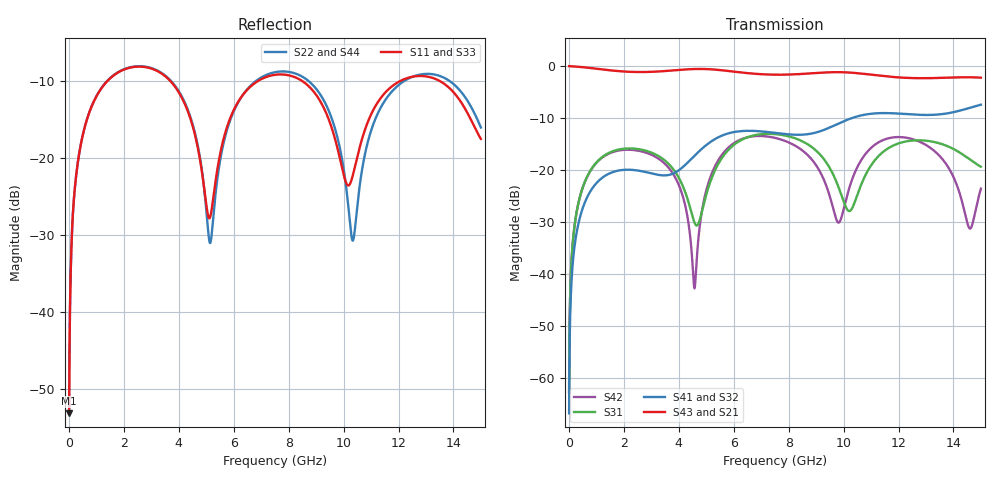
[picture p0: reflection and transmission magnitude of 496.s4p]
! Created with skrf 1.8.0 (http://scikit-rf.org).
# GHz S RI R 50.0
!freq ReS11 ImS11 ReS12 ImS12 ReS13 ImS13
! ReS14 ImS14
! ReS21 ImS21 ReS22 ImS22 ReS23 ImS23
! ReS24 ImS24
! ReS31 ImS31 ReS32 ImS32 ReS33 ImS33
! ReS34 ImS34
! ReS41 ImS41 ReS42 ImS42 ReS43 ImS43
! ReS44 ImS44
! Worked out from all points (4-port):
!   2499 points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, 5 MHz to 15 GHz, reference 50 ohm
!   strongest paths, dB at 5 MHz, 3.476 GHz, 7.19 GHz, 11.1 GHz, 15 GHz:
!     S43: 0.0, -1.0, -1.6, -1.7, -2.2
!     S21: 0.0, -1.0, -1.6, -1.7, -2.2
!     S41: -66.9, -21.1, -12.7, -9.1, -7.4
!     S32: -66.9, -21.1, -12.8, -9.1, -7.4
!     S31: -62.9, -18.1, -13.1, -18.4, -19.4
!     S42: -62.9, -18.7, -13.5, -15.3, -23.6
!   lowest |S11| = -53.2 dB at 5 MHz (marker M1), VSWR 1.00, Z = 50.2 + j0.133 ohm
!   |S11| at or under -10 dB: 3.683 GHz to 6.894 GHz (3.211 GHz wide, 60.7 % of centre); 8.481 GHz to 12.07 GHz (3.593 GHz wide, 35 % of centre); 13.49 GHz to end of sweep (the widest 3 of 4)
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0.005  0.00175 0.00133  0.9982 -0.00341  8.89e-05 0.000712  -8.62e-05 -0.000444
       0.9982 -0.00341  0.00175 0.00133  -8.62e-05 -0.000444  8.87e-05 0.000712
       8.89e-05 0.000712  -8.62e-05 -0.000444  0.00175 0.00133  0.9982 -0.00341
       -8.62e-05 -0.000444  8.87e-05 0.000712  0.9982 -0.00341  0.00175 0.00133
0.3126303  0.0268 0.0868  0.9633 -0.2113  0.013 0.0418  -0.0105 -0.0257
           0.9633 -0.2113  0.0269 0.0867  -0.0105 -0.0257  0.0124 0.042
           0.013 0.0418  -0.0105 -0.0257  0.0268 0.0868  0.9633 -0.2113
           -0.0105 -0.0257  0.0124 0.042  0.9633 -0.2113  0.0269 0.0868
1.519383  0.2819 0.1728  0.5193 -0.7459  0.1386 0.0533  -0.0936 -0.00106
          0.5193 -0.7459  0.2846 0.1708  -0.0934 -0.00129  0.1314 0.0639
          0.1386 0.0533  -0.0934 -0.00129  0.282 0.1727  0.5193 -0.7459
          -0.0936 -0.00106  0.1314 0.0639  0.5193 -0.7459  0.2845 0.1709
4.570654  0.0805 -0.1206  -0.8519 -0.39  -0.0263 -0.0165  -0.0514 0.1268
          -0.8519 -0.39  0.0706 -0.1315  -0.0539 0.1257  0.00693 0.00206
          -0.0263 -0.0165  -0.0539 0.1257  0.0802 -0.1206  -0.8519 -0.3901
          -0.0514 0.1268  0.00693 0.00206  -0.8519 -0.3901  0.0706 -0.1311
7.909546  0.3445 -0.0292  -0.0256 0.8267  0.1824 -0.1103  0.2075 -0.076
          -0.0256 0.8267  0.3603 -0.0445  0.2067 -0.0684  0.182 -0.0482
          0.1824 -0.1103  0.2067 -0.0684  0.3445 -0.0335  -0.0261 0.8273
          0.2075 -0.076  0.182 -0.0482  -0.0261 0.8273  0.3571 -0.0402
10.64193  0.0944 0.0852  0.8451 -0.0592  0.0156 0.0705  -0.0492 -0.3313
          0.8451 -0.0592  0.0465 0.0618  -0.0339 -0.3331  0.0901 0.0855
          0.0156 0.0705  -0.0339 -0.3331  0.088 0.0912  0.8449 -0.0595
          -0.0492 -0.3313  0.0901 0.0855  0.8449 -0.0595  0.0522 0.0641
15  0.128 -0.0356  -0.6696 -0.3871  -0.1074 -0.00375  -0.2007 0.3747
    -0.6696 -0.3871  0.1249 -0.0958  -0.2247 0.362  -0.0215 0.0623
    -0.1074 -0.00375  -0.2247 0.362  0.1213 -0.0375  -0.6681 -0.3898
    -0.2007 0.3747  -0.0215 0.0623  -0.6681 -0.3898  0.13 -0.0966
